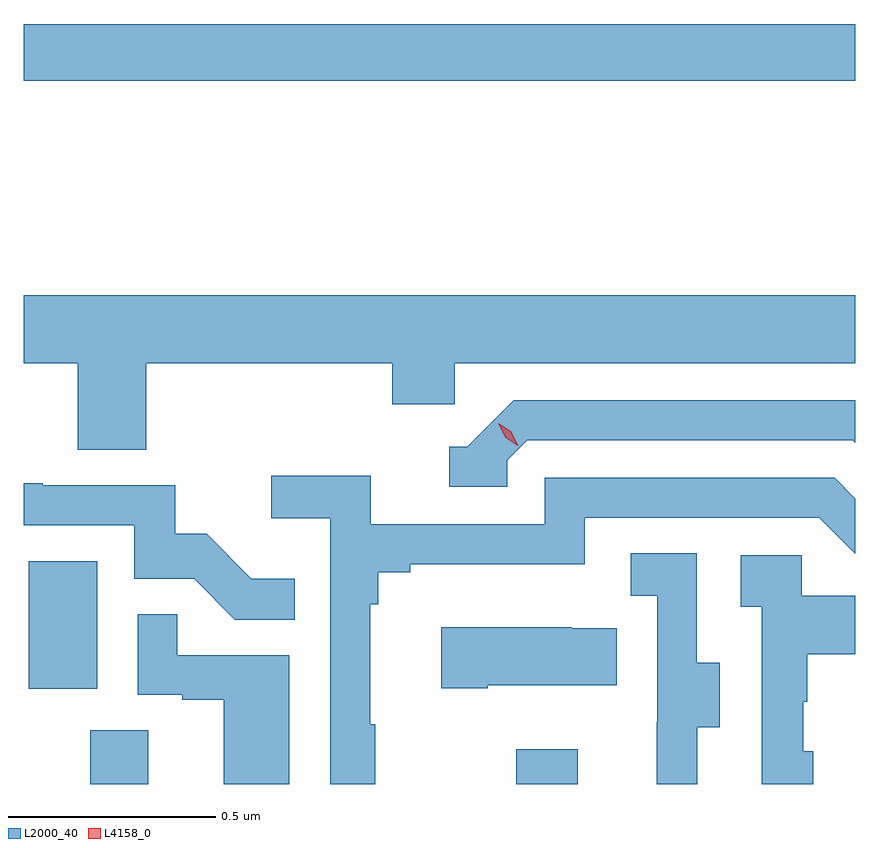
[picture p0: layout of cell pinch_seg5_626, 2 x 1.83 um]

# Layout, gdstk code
import gdstk
lib = gdstk.Library(unit=1e-6, precision=1e-09)
def R(c, l, rs):  # rectangles x0, y0, x1, y1
    for r in rs: c.add(gdstk.rectangle(r[:2], r[2:], *l))
def P(c, l, *ps):  # polygons
    for p in ps: c.add(gdstk.Polygon(p, *l))
L2000_40 = (2000, 40)
L4158_0 = (4158, 0)

pinch_seg5_626 = lib.new_cell('pinch_seg5_626')
R(pinch_seg5_626, L2000_40, [(1045.919,867.737,1046.059,867.866), (1046.944,867.737,1047.091,867.82), (1045.772,867.966,1045.936,868.273), (1045.759,869.428,1047.759,869.564)])
P(pinch_seg5_626, L2000_40, [(1046.054,868.748),(1046.645,868.748),(1046.645,868.65),(1046.796,868.65),(1046.796,868.748),(1047.759,868.748),(1047.759,868.912),(1045.759,868.912),(1045.759,868.748),(1045.889,868.748),(1045.889,868.54),(1046.054,868.54)],
  [(1046.922,868.515),(1046.97,868.563),(1047.753,868.563),(1047.759,868.557),(1047.759,868.659),(1046.937,868.659),(1046.826,868.548),(1046.783,868.548),(1046.783,868.452),(1046.922,868.452)],
  [(1046.605,867.881),(1046.593,867.881),(1046.593,868.169),(1046.612,868.169),(1046.612,868.246),(1046.689,868.246),(1046.689,868.265),(1047.108,868.265),(1047.108,868.377),(1047.672,868.377),(1047.759,868.29),(1047.759,868.423),(1047.709,868.473),(1047.012,868.473),(1047.012,868.362),(1046.594,868.362),(1046.594,868.478),(1046.355,868.478),(1046.355,868.376),(1046.496,868.376),(1046.496,867.737),(1046.605,867.737)],
  [(1046.411,868.231),(1046.307,868.231),(1046.2,868.338),(1046.124,868.338),(1046.124,868.455),(1045.805,868.455),(1045.805,868.46),(1045.759,868.46),(1045.759,868.359),(1046.025,868.359),(1046.025,868.23),(1046.169,868.23),(1046.267,868.132),(1046.411,868.132)],
  [(1047.379,867.874),(1047.433,867.874),(1047.433,868.029),(1047.378,868.029),(1047.378,868.292),(1047.219,868.292),(1047.219,868.189),(1047.282,868.189),(1047.282,867.885),(1047.281,867.885),(1047.281,867.737),(1047.379,867.737)],
  [(1047.658,867.816),(1047.633,867.816),(1047.633,867.935),(1047.643,867.935),(1047.643,868.049),(1047.759,868.049),(1047.759,868.189),(1047.63,868.189),(1047.63,868.287),(1047.483,868.287),(1047.483,868.163),(1047.534,868.163),(1047.534,867.737),(1047.658,867.737)],
  [(1046.398,868.047),(1046.129,868.047),(1046.129,868.145),(1046.034,868.145),(1046.034,867.951),(1046.141,867.951),(1046.141,867.939),(1046.24,867.939),(1046.24,867.737),(1046.398,867.737)],
  [(1046.875,867.974),(1047.185,867.974),(1047.185,868.111),(1047.077,868.111),(1047.077,868.114),(1046.763,868.114),(1046.763,867.967),(1046.875,867.967)])
P(pinch_seg5_626, L4158_0, [(1046.947,868.55),(1046.917,868.57),(1046.901,868.603),(1046.901,868.604),(1046.902,868.604),(1046.932,868.584),(1046.948,868.55),(1046.948,868.55)])

lib.write_gds('pinch_seg5_626.gds')
